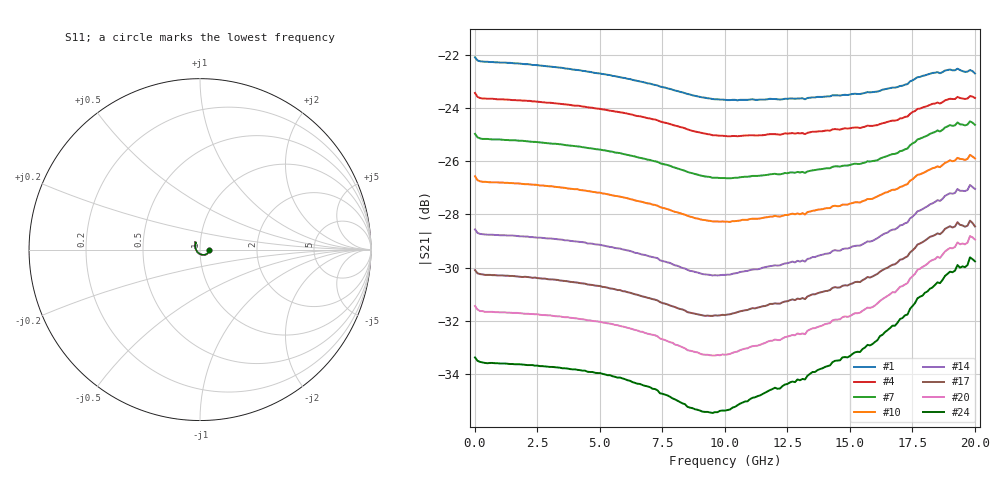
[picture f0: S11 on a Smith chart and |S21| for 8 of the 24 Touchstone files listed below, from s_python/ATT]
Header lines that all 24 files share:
!s2p File: Measurements: S11, S21, S12, S22
# GHz S dB R 50.0
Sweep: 10 MHz to 20.01 GHz
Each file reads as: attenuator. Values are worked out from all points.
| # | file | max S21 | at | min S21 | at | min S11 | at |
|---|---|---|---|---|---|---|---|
| 1 | HMC424A-DIE_direct probed sparameters_20.0dB.s2p | -22.09 dB | 10 MHz | -23.7 dB | 10.51 GHz | -33.5 dB | 12.91 GHz |
| 2 | HMC424A-DIE_direct probed sparameters_20.5dB.s2p | -22.51 dB | 10 MHz | -24.1 dB | 10.11 GHz | -33.5 dB | 12.91 GHz |
| 3 | HMC424A-DIE_direct probed sparameters_21.0dB.s2p | -23.03 dB | 10 MHz | -24.6 dB | 10.11 GHz | -33.7 dB | 12.91 GHz |
| 4 | HMC424A-DIE_direct probed sparameters_21.5dB.s2p | -23.43 dB | 10 MHz | -25.1 dB | 10.11 GHz | -33.7 dB | 12.91 GHz |
| 5 | HMC424A-DIE_direct probed sparameters_22.0dB.s2p | -23.84 dB | 19.31 GHz | -25.7 dB | 10.01 GHz | -33.8 dB | 12.91 GHz |
| 6 | HMC424A-DIE_direct probed sparameters_22.5dB.s2p | -24.20 dB | 19.81 GHz | -26.1 dB | 10.21 GHz | -33.8 dB | 13.11 GHz |
| 7 | HMC424A-DIE_direct probed sparameters_23.0dB.s2p | -24.50 dB | 19.81 GHz | -26.6 dB | 10.11 GHz | -33.9 dB | 13.11 GHz |
| 8 | HMC424A-DIE_direct probed sparameters_23.5dB.s2p | -24.86 dB | 19.81 GHz | -27.1 dB | 10.11 GHz | -33.9 dB | 12.91 GHz |
| 9 | HMC424A-DIE_direct probed sparameters_24.0dB.s2p | -25.43 dB | 19.81 GHz | -27.9 dB | 9.71 GHz | -33.7 dB | 12.91 GHz |
| 10 | HMC424A-DIE_direct probed sparameters_24.5dB.s2p | -25.76 dB | 19.81 GHz | -28.3 dB | 10.21 GHz | -33.7 dB | 12.91 GHz |
| 11 | HMC424A-DIE_direct probed sparameters_25.0dB.s2p | -25.97 dB | 19.81 GHz | -28.8 dB | 9.81 GHz | -33.8 dB | 12.91 GHz |
| 12 | HMC424A-DIE_direct probed sparameters_25.5dB.s2p | -26.33 dB | 19.81 GHz | -29.2 dB | 10.01 GHz | -33.8 dB | 12.91 GHz |
| 13 | HMC424A-DIE_direct probed sparameters_26.0dB.s2p | -26.57 dB | 19.81 GHz | -29.9 dB | 9.51 GHz | -33.8 dB | 12.91 GHz |
| 14 | HMC424A-DIE_direct probed sparameters_26.5dB.s2p | -26.89 dB | 19.81 GHz | -30.3 dB | 9.51 GHz | -33.8 dB | 12.91 GHz |
| 15 | HMC424A-DIE_direct probed sparameters_27.0dB.s2p | -27.10 dB | 19.81 GHz | -30.9 dB | 9.51 GHz | -33.8 dB | 12.91 GHz |
| 16 | HMC424A-DIE_direct probed sparameters_27.5dB.s2p | -27.43 dB | 19.81 GHz | -31.3 dB | 9.51 GHz | -33.9 dB | 12.91 GHz |
| 17 | HMC424A-DIE_direct probed sparameters_28.0dB.s2p | -28.23 dB | 19.81 GHz | -31.8 dB | 9.21 GHz | -33.8 dB | 12.91 GHz |
| 18 | HMC424A-DIE_direct probed sparameters_28.5dB.s2p | -28.46 dB | 19.81 GHz | -32.3 dB | 9.61 GHz | -33.9 dB | 12.91 GHz |
| 19 | HMC424A-DIE_direct probed sparameters_29.0dB.s2p | -28.54 dB | 19.81 GHz | -32.9 dB | 9.41 GHz | -33.9 dB | 12.91 GHz |
| 20 | HMC424A-DIE_direct probed sparameters_29.5dB.s2p | -28.81 dB | 19.81 GHz | -33.3 dB | 9.51 GHz | -33.9 dB | 12.91 GHz |
| 21 | HMC424A-DIE_direct probed sparameters_30.0dB.s2p | -29.04 dB | 19.81 GHz | -33.9 dB | 9.11 GHz | -33.9 dB | 13.11 GHz |
| 22 | HMC424A-DIE_direct probed sparameters_30.5dB.s2p | -29.28 dB | 19.81 GHz | -34.4 dB | 9.21 GHz | -33.9 dB | 12.91 GHz |
| 23 | HMC424A-DIE_direct probed sparameters_31.0dB.s2p | -29.35 dB | 19.81 GHz | -35.0 dB | 9.41 GHz | -34.0 dB | 12.91 GHz |
| 24 | HMC424A-DIE_direct probed sparameters_31.5dB.s2p | -29.61 dB | 19.81 GHz | -35.5 dB | 9.51 GHz | -34.0 dB | 12.91 GHz |
